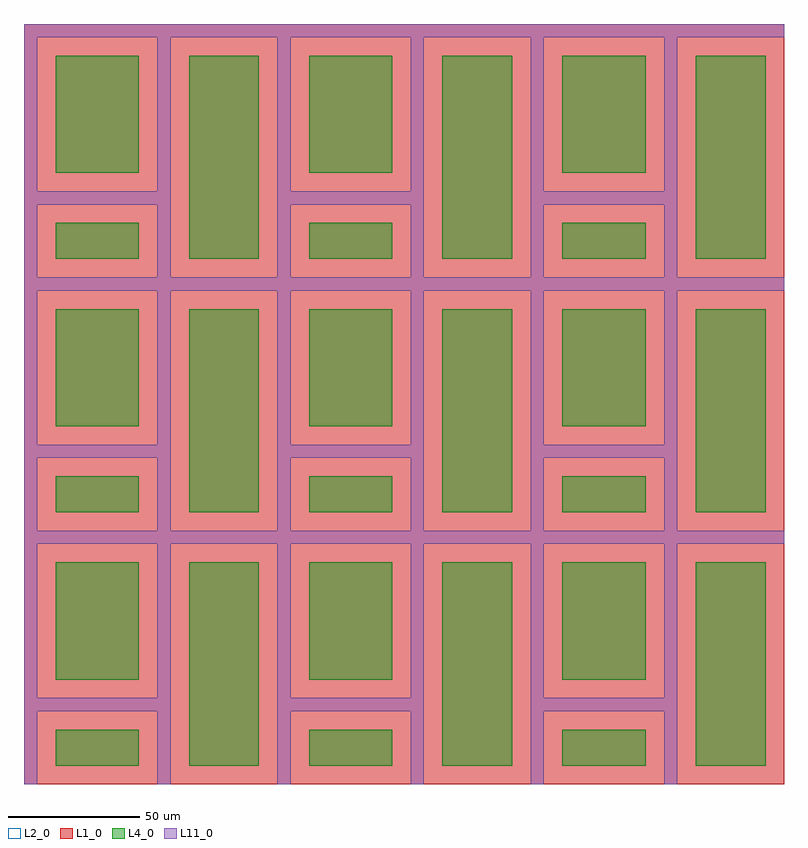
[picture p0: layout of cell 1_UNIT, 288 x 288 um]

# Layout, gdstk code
import gdstk
lib = gdstk.Library(unit=1e-6, precision=1e-09)
def R(c, l, rs):  # rectangles x0, y0, x1, y1
    for r in rs: c.add(gdstk.rectangle(r[:2], r[2:], *l))
L1_0 = (1, 0)
L2_0 = (2, 0)
L4_0 = (4, 0)
L11_0 = (11, 0)

c_0_unit = lib.new_cell('0_UNIT')
R(c_0_unit, L1_0, [(0,0,96,96)])
R(c_0_unit, L4_0, [(12,7,43.55,20.6), (62.55,7,89,84), (12,39.6,43.55,84)])
R(c_0_unit, L11_0, [(0,0,5,96), (50.55,0,55.55,96), (0,27.6,50.55,32.6), (0,91,96,96)])

c_1_unit = lib.new_cell('1_UNIT')
R(c_1_unit, L2_0, [(0,0,288,288)])
r = gdstk.Reference(c_0_unit, (0,0)); r.repetition = gdstk.Repetition(3, 3, v1=(96,0), v2=(0,96)); c_1_unit.add(r)

lib.write_gds('1_UNIT.gds')
